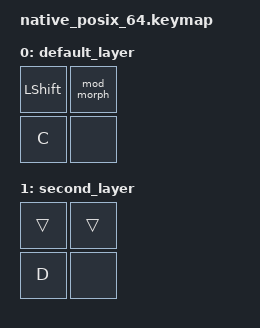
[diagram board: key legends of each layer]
#include <dt-bindings/zmk/keys.h>
#include <behaviors.dtsi>
#include <dt-bindings/zmk/kscan_mock.h>

/*
This test fails when the hold-tap resolves as tap, because &mod_morph is then released
when the hold-tap decision is made but before the keypress is registered.
*/

&kscan {
	events = <
        /* Shift + tap &mod_morph --> expect B (but get Shift + B) */
		ZMK_MOCK_PRESS(0,0,10)
		ZMK_MOCK_PRESS(0,1,10)
		ZMK_MOCK_RELEASE(0,1,10)
		ZMK_MOCK_RELEASE(0,0,10)

        /* Shift + hold &mod_morph --> expect and get D (no shift) */
		ZMK_MOCK_PRESS(0,0,10)
		ZMK_MOCK_PRESS(0,1,200)
		ZMK_MOCK_PRESS(1,0,10)
		ZMK_MOCK_RELEASE(1,0,10)
		ZMK_MOCK_RELEASE(0,1,10)
		ZMK_MOCK_RELEASE(0,0,10)
	>;
};

/ {
    behaviors {
        mod_morph: mod_morph {
            compatible = "zmk,behavior-mod-morph";
            label = "MOD_MORPH_TEST";
            #binding-cells = <0>;
            bindings = <&kp A>, <&lt 1 B>;
            mods = <(MOD_LSFT|MOD_RSFT)>;
            masked_mods = <(MOD_LSFT|MOD_RSFT)>;  // same as default, added in case default gets changed
        };

    };

	keymap {
		compatible = "zmk,keymap";
		label ="Default keymap";

		default_layer {
			bindings = <
				&kp LEFT_SHIFT &mod_morph
				&kp C &none
			>;
		};

        second_layer {
			bindings = <
				&trans &trans
				&kp D &none
			>;
		};
	};
};
